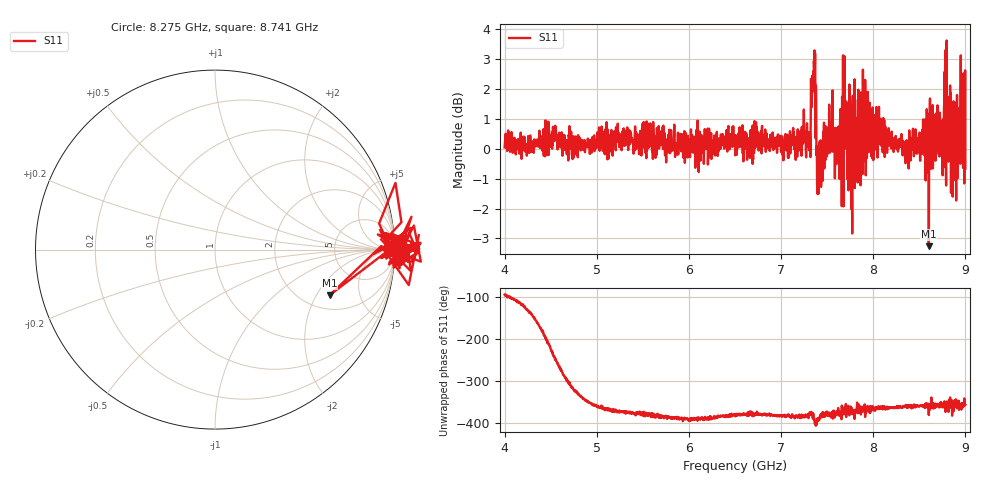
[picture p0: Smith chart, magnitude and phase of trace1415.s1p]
! Created with skrf 1.8.0 (http://scikit-rf.org).
# Hz S RI R 50.0
!freq ReS11 ImS11
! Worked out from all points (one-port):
!   1601 points, 4 GHz to 9 GHz, reference 50 ohm
!   lowest |S11| = -3.3 dB at 8.603 GHz (marker M1), VSWR 5.40, Z = 135 - j130 ohm
!   |S11| at or under -10 dB: nowhere
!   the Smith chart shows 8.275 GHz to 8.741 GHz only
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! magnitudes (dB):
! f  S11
! 4 GHz  0.0
! 4.625 GHz  0.2
! 4.753 GHz  0.3
! 5.25 GHz  0.5
! 5.875 GHz  -0.2
! 6.5 GHz  0.4
! 7.125 GHz  0.4
! 7.294 GHz  0.5
! 7.347 GHz  2.1
! 7.362 GHz  3.3
! 7.409 GHz  -1.5
! 7.538 GHz  0.9
! 7.609 GHz  0.2
! 7.688 GHz  3.1
! 7.703 GHz  1.5
! 7.75 GHz  -0.6
! 7.841 GHz  -0.9
! 7.891 GHz  0.9
! 8.375 GHz  0.0
! 8.569 GHz  -1.1
! 8.603 GHz  -3.3
! 8.734 GHz  0.9
! 8.822 GHz  1.7
! 8.841 GHz  1.8
! 8.906 GHz  0.4
! 8.959 GHz  2.3
! 8.972 GHz  0.8
! 9 GHz  -0.7
